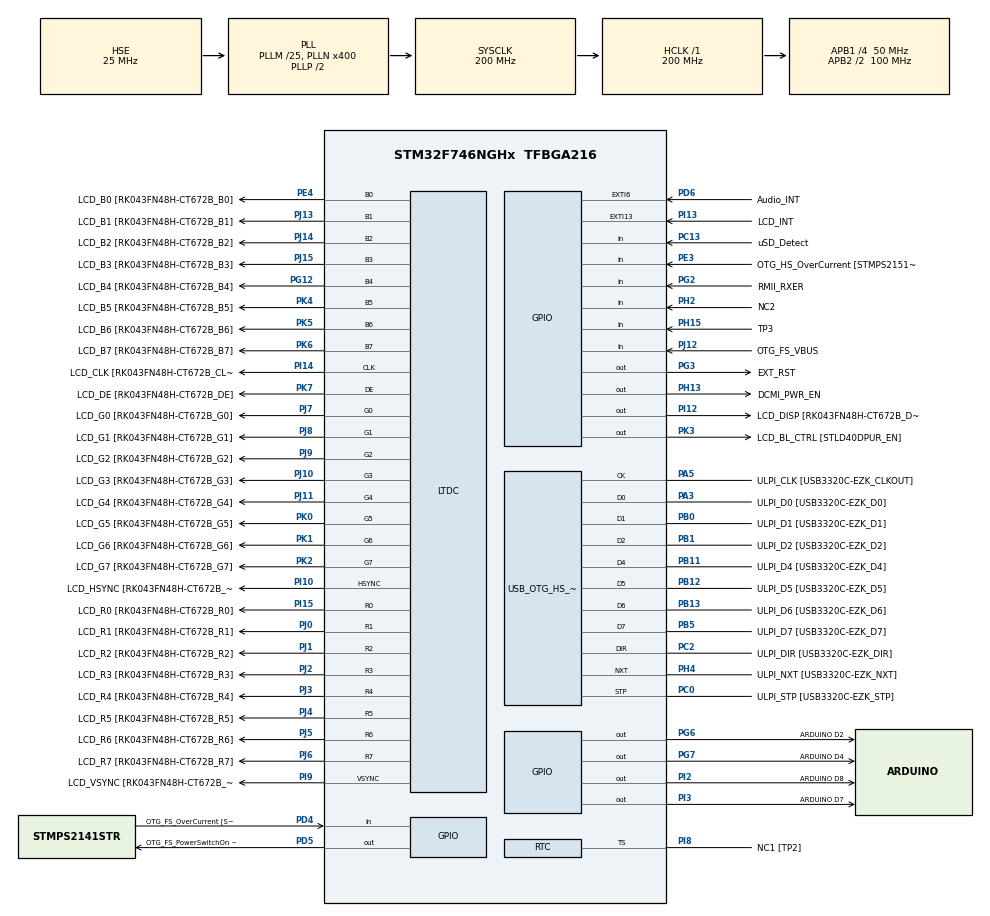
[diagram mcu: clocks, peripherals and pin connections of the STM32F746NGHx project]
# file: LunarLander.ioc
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DMA2D.ColorMode=DMA2D_OUTPUT_RGB565
DMA2D.Mode=DMA2D_R2M
FREERTOS.Tasks01=GameStateLogic,32,128,GameStateLogicWorker,Default,NULL,Dynamic,NULL,NULL;Rendering,16,128,RenderingWorker,Default,NULL,Dynamic,NULL,NULL
LTDC.ActiveH=272
LTDC.ActiveW=480
LTDC.Alpha_L0=255
LTDC.BlendingFactor1_L0=LTDC_BLENDING_FACTOR1_PAxCA
LTDC.BlendingFactor2_L0=LTDC_BLENDING_FACTOR2_PAxCA
LTDC.FBStartAdress_L0=0xC0000000
LTDC.HBP=13
LTDC.HFP=32
LTDC.HSync=41
LTDC.ImageHeight_L0=272
LTDC.ImageWidth_L0=480
LTDC.Layers=0
LTDC.PixelFormat_L0=LTDC_PIXEL_FORMAT_RGB565
LTDC.VSync=10
LTDC.WindowX1_L0=480
LTDC.WindowY1_L0=272
Mcu.Family=STM32F7
Mcu.Name=STM32F746NGHx
Mcu.Package=TFBGA216
NVIC.DMA2D_IRQn=true\:5\:0\:false\:false\:true\:true\:true\:true
NVIC.LTDC_IRQn=true\:5\:0\:false\:false\:true\:true\:true\:true
NVIC.PriorityGroup=NVIC_PRIORITYGROUP_4
NVIC.TIM6_DAC_IRQn=true\:0\:0\:false\:false\:true\:false\:false\:true
NVIC.TimeBase=TIM6_DAC_IRQn
NVIC.TimeBaseIP=TIM6
PA0/WKUP.GPIO_Label=ARDUINO A0
PA0/WKUP.GPIO_Mode=GPIO_MODE_ANALOG
PA0/WKUP.GPIO_PuPd=GPIO_NOPULL
PA0/WKUP.Signal=ADCx_IN0
PA1.GPIO_Label=RMII_REF_CLK [LAN8742A-CZ-TR_REFCLK0]
PA1.Signal=ETH_REF_CLK
PA10.GPIO_Label=OTG_FS_ID
PA10.Signal=USB_OTG_FS_ID
PA11.GPIO_Label=OTG_FS_N
PA11.Signal=USB_OTG_FS_DM
PA12.GPIO_Label=OTG_FS_P
PA12.Signal=USB_OTG_FS_DP
PA13.GPIO_Label=SWDIO
PA13.Mode=Serial_Wire
PA13.Signal=SYS_JTMS-SWDIO
PA14.GPIO_Label=SWCLK
PA14.Mode=Serial_Wire
PA14.Signal=SYS_JTCK-SWCLK
PA15.GPIO_Label=ARDUINO PWM/D9
PA15.GPIO_ModeDefaultPP=GPIO_MODE_AF_PP
PA15.GPIO_PuPd=GPIO_NOPULL
PA15.GPIO_Speed=GPIO_SPEED_FREQ_LOW
PA15.Signal=S_TIM2_CH1_ETR
PA2.GPIO_Label=RMII_MDIO [LAN8742A-CZ-TR_MDIO]
PA2.Signal=ETH_MDIO
PA3.GPIO_Label=ULPI_D0 [USB3320C-EZK_D0]
PA3.Mode=Host_HS
PA3.Signal=USB_OTG_HS_ULPI_D0
PA4.GPIO_Label=DCMI_HSYNC
PA4.Signal=DCMI_HSYNC
PA5.GPIO_Label=ULPI_CLK [USB3320C-EZK_CLKOUT]
PA5.Mode=Host_HS
PA5.Signal=USB_OTG_HS_ULPI_CK
PA6.Signal=DCMI_PIXCLK
PA7.GPIO_Label=RMII_CRS_DV [LAN8742A-CZ-TR_CRS_DV]
PA7.Signal=ETH_CRS_DV
PA8.GPIO_Label=ARDUINO PWM/D10
PA8.GPIO_ModeDefaultPP=GPIO_MODE_AF_PP
PA8.GPIO_PuPd=GPIO_NOPULL
PA8.GPIO_Speed=GPIO_SPEED_FREQ_LOW
PA8.Signal=S_TIM1_CH1
PA9.GPIO_Label=VCP_TX [STM32F103CBT6_PA3]
PA9.GPIO_Mode=GPIO_MODE_AF_PP
PA9.GPIO_PuPd=GPIO_NOPULL
PA9.GPIO_Speed=GPIO_SPEED_FREQ_LOW
PA9.Signal=USART1_TX
PB0.GPIO_Label=ULPI_D1 [USB3320C-EZK_D1]
PB0.Mode=Host_HS
PB0.Signal=USB_OTG_HS_ULPI_D1
PB1.GPIO_Label=ULPI_D2 [USB3320C-EZK_D2]
PB1.Mode=Host_HS
PB1.Signal=USB_OTG_HS_ULPI_D2
PB10.GPIO_Label=ULPI_D3 [USB3320C-EZK_D3]
PB10.Signal=USB_OTG_HS_ULPI_D3
PB11.GPIO_Label=ULPI_D4 [USB3320C-EZK_D4]
PB11.Mode=Host_HS
PB11.Signal=USB_OTG_HS_ULPI_D4
PB12.GPIO_Label=ULPI_D5 [USB3320C-EZK_D5]
PB12.Mode=Host_HS
PB12.Signal=USB_OTG_HS_ULPI_D5
PB13.GPIO_Label=ULPI_D6 [USB3320C-EZK_D6]
PB13.Mode=Host_HS
PB13.Signal=USB_OTG_HS_ULPI_D6
PB14.GPIO_Label=ARDUINO MISO/D12
PB14.GPIO_Mode=GPIO_MODE_AF_PP
PB14.GPIO_PuPd=GPIO_NOPULL
PB14.GPIO_Speed=GPIO_SPEED_FREQ_LOW
PB14.Signal=SPI2_MISO
PB15.GPIO_Label=ARDUINO MOSI/PWM/D11
PB15.GPIO_Mode=GPIO_MODE_AF_PP
PB15.GPIO_PuPd=GPIO_NOPULL
PB15.GPIO_Speed=GPIO_SPEED_FREQ_LOW
PB15.Signal=SPI2_MOSI
PB2.Signal=QUADSPI_CLK
PB3.GPIO_Label=SWO
PB3.Signal=SYS_JTDO-SWO
PB4.GPIO_Label=ARDUINO PWM/D3
PB4.GPIO_ModeDefaultPP=GPIO_MODE_AF_PP
PB4.GPIO_PuPd=GPIO_NOPULL
PB4.GPIO_Speed=GPIO_SPEED_FREQ_LOW
PB4.Signal=S_TIM3_CH1
PB5.GPIO_Label=ULPI_D7 [USB3320C-EZK_D7]
PB5.Mode=Host_HS
PB5.Signal=USB_OTG_HS_ULPI_D7
PB6.GPIO_Label=QSPI_NCS [N25Q128A13EF840E_S]
PB6.Signal=QUADSPI_BK1_NCS
PB7.GPIO_Label=VCP_RX [STM32F103CBT6_PA2]
PB7.GPIO_Mode=GPIO_MODE_AF_PP
PB7.GPIO_PuPd=GPIO_NOPULL
PB7.GPIO_Speed=GPIO_SPEED_FREQ_LOW
PB7.Signal=USART1_RX
PB8.GPIO_Label=ARDUINO SCL/D15
PB8.GPIO_Mode=GPIO_MODE_AF_OD
PB8.GPIO_PuPd=GPIO_NOPULL
PB8.GPIO_Speed=GPIO_SPEED_FREQ_LOW
PB8.Signal=I2C1_SCL
PB9.GPIO_Label=ARDUINO SDA/D14
PB9.GPIO_Mode=GPIO_MODE_AF_OD
PB9.GPIO_PuPd=GPIO_NOPULL
PB9.GPIO_Speed=GPIO_SPEED_FREQ_LOW
PB9.Signal=I2C1_SDA
PC0.GPIO_Label=ULPI_STP [USB3320C-EZK_STP]
PC0.Mode=Host_HS
PC0.Signal=USB_OTG_HS_ULPI_STP
PC1.GPIO_Label=RMII_MDC [LAN8742A-CZ-TR_MDC]
PC1.Signal=ETH_MDC
PC10.GPIO_Label=SDMMC_D2
PC10.Signal=SDMMC1_D2
PC11.GPIO_Label=SDMMC_D3
PC11.Signal=SDMMC1_D3
PC12.GPIO_Label=SDMMC_CK
PC12.Signal=SDMMC1_CK
PC13.GPIO_Label=uSD_Detect
PC13.Signal=GPIO_Input
PC14/OSC32_IN.GPIO_Label=RCC_OSC32_IN
PC14/OSC32_IN.Mode=LSE-External-Oscillator
PC14/OSC32_IN.Signal=RCC_OSC32_IN
PC15/OSC32_OUT.GPIO_Label=RCC_OSC32_OUT
PC15/OSC32_OUT.Mode=LSE-External-Oscillator
PC15/OSC32_OUT.Signal=RCC_OSC32_OUT
PC2.GPIO_Label=ULPI_DIR [USB3320C-EZK_DIR]
PC2.Mode=Host_HS
PC2.Signal=USB_OTG_HS_ULPI_DIR
PC3.GPIO_Label=FMC_SDCKE0 [MT48LC4M32B2B5-6A_CKE]
PC3.Signal=FMC_SDCKE0
PC4.GPIO_Label=RMII_RXD0 [LAN8742A-CZ-TR_RXD0]
PC4.Signal=ETH_RXD0
PC5.GPIO_Label=RMII_RXD1 [LAN8742A-CZ-TR_RXD1]
PC5.Signal=ETH_RXD1
PC6.GPIO_Label=ARDUINO TX/D1
PC6.Signal=USART6_TX
PC7.GPIO_Label=ARDUINO RX/D0
PC7.Signal=USART6_RX
PC8.Signal=SDMMC1_D0
PC9.Signal=SDMMC1_D1
PD0.GPIO_Label=FMC_D2 [MT48LC4M32B2B5-6A_DQ2]
PD0.Signal=FMC_D2_DA2
PD1.GPIO_Label=FMC_D3 [MT48LC4M32B2B5-6A_DQ3]
PD1.Signal=FMC_D3_DA3
PD10.GPIO_Label=FMC_D15 [MT48LC4M32B2B5-6A_DQ15]
PD10.Signal=FMC_D15_DA15
PD11.GPIO_Label=QSPI_D0 [N25Q128A13EF840E_DQ0]
PD11.Signal=QUADSPI_BK1_IO0
PD12.GPIO_Label=QSPI_D1 [N25Q128A13EF840E_DQ1]
PD12.Signal=QUADSPI_BK1_IO1
PD13.GPIO_Label=QSPI_D3 [N25Q128A13EF840E_DQ3]
PD13.Signal=QUADSPI_BK1_IO3
PD14.GPIO_Label=FMC_D0 [MT48LC4M32B2B5-6A_DQ0]
PD14.Signal=FMC_D0_DA0
PD15.GPIO_Label=FMC_D1 [MT48LC4M32B2B5-6A_DQ1]
PD15.Signal=FMC_D1_DA1
PD2.GPIO_Label=SDMMC_CMD
PD2.Signal=SDMMC1_CMD
PD3.GPIO_Label=DCMI_D5
PD3.Signal=DCMI_D5
PD4.GPIO_Label=OTG_FS_OverCurrent [STMPS2141STR_Fault]
PD4.Signal=GPIO_Input
PD5.GPIO_Label=OTG_FS_PowerSwitchOn [STMPS2141STR_EN]
PD5.PinState=GPIO_PIN_SET
PD5.Signal=GPIO_Output
PD6.GPIO_Label=Audio_INT
PD6.GPIO_ModeDefaultEXTI=GPIO_MODE_EVT_RISING
PD6.Signal=GPXTI6
PD7.GPIO_Label=SPDIF_RX0 [74LVC1G04SE_4]
PD7.Signal=SPDIFRX_IN0
PD8.GPIO_Label=FMC_D13 [MT48LC4M32B2B5-6A_DQ13]
PD8.Signal=FMC_D13_DA13
PD9.GPIO_Label=FMC_D14 [MT48LC4M32B2B5-6A_DQ14]
PD9.Signal=FMC_D14_DA14
PE0.GPIO_Label=FMC_NBL0 [MT48LC4M32B2B5-6A_DQM0]
PE0.Signal=FMC_NBL0
PE1.GPIO_Label=FMC_NBL1 [MT48LC4M32B2B5-6A_DQM1]
PE1.Signal=FMC_NBL1
PE10.GPIO_Label=FMC_D7 [MT48LC4M32B2B5-6A_DQ7]
PE10.Signal=FMC_D7_DA7
PE11.GPIO_Label=FMC_D8 [MT48LC4M32B2B5-6A_DQ8]
PE11.Signal=FMC_D8_DA8
PE12.GPIO_Label=FMC_D9 [MT48LC4M32B2B5-6A_DQ9]
PE12.Signal=FMC_D9_DA9
PE13.GPIO_Label=FMC_D10 [MT48LC4M32B2B5-6A_DQ10]
PE13.Signal=FMC_D10_DA10
PE14.GPIO_Label=FMC_D11 [MT48LC4M32B2B5-6A_DQ11]
PE14.Signal=FMC_D11_DA11
PE15.GPIO_Label=FMC_D12 [MT48LC4M32B2B5-6A_DQ12]
PE15.Signal=FMC_D12_DA12
PE2.GPIO_Label=QSPI_D2 [N25Q128A13EF840E_DQ2]
PE2.Signal=QUADSPI_BK1_IO2
PE3.GPIO_Label=OTG_HS_OverCurrent [STMPS2151STR_FAULT]
PE3.Signal=GPIO_Input
PE4.GPIO_Label=LCD_B0 [RK043FN48H-CT672B_B0]
PE4.Mode=RGB888
PE4.Signal=LTDC_B0
PE5.GPIO_Label=DCMI_D6
PE5.Signal=DCMI_D6
PE6.GPIO_Label=DCMI_D7
PE6.Signal=DCMI_D7
PE7.GPIO_Label=FMC_D4 [MT48LC4M32B2B5-6A_DQ4]
PE7.Signal=FMC_D4_DA4
PE8.GPIO_Label=FMC_D5 [MT48LC4M32B2B5-6A_DQ5]
PE8.Signal=FMC_D5_DA5
PE9.GPIO_Label=FMC_D6 [MT48LC4M32B2B5-6A_DQ6]
PE9.Signal=FMC_D6_DA6
PF0.GPIO_Label=FMC_A0 [MT48LC4M32B2B5-6A_A0]
PF0.Signal=FMC_A0
PF1.GPIO_Label=FMC_A1 [MT48LC4M32B2B5-6A_A1]
PF1.Signal=FMC_A1
PF10.GPIO_Label=ARDUINO A1
PF10.GPIO_Mode=GPIO_MODE_ANALOG
PF10.GPIO_PuPd=GPIO_NOPULL
PF10.Signal=ADC3_IN8
PF11.GPIO_Label=FMC_SDNRAS [MT48LC4M32B2B5-6A_RAS]
PF11.Signal=FMC_SDNRAS
PF12.GPIO_Label=FMC_A6 [MT48LC4M32B2B5-6A_A6]
PF12.Signal=FMC_A6
PF13.GPIO_Label=FMC_A7 [MT48LC4M32B2B5-6A_A7]
PF13.Signal=FMC_A7
PF14.GPIO_Label=FMC_A8 [MT48LC4M32B2B5-6A_A8]
PF14.Signal=FMC_A8
PF15.GPIO_Label=FMC_A9 [MT48LC4M32B2B5-6A_A9]
PF15.Signal=FMC_A9
PF2.GPIO_Label=FMC_A2 [MT48LC4M32B2B5-6A_A2]
PF2.Signal=FMC_A2
PF3.GPIO_Label=FMC_A3 [MT48LC4M32B2B5-6A_A3]
PF3.Signal=FMC_A3
PF4.GPIO_Label=FMC_A4 [MT48LC4M32B2B5-6A_A4]
PF4.Signal=FMC_A4
PF5.GPIO_Label=FMC_A5 [MT48LC4M32B2B5-6A_A5]
PF5.Signal=FMC_A5
PF6.GPIO_Label=ARDUINO A5
PF6.GPIO_Mode=GPIO_MODE_ANALOG
PF6.GPIO_PuPd=GPIO_NOPULL
PF6.Signal=ADC3_IN4
PF7.GPIO_Label=ARDUINO A4
PF7.GPIO_Mode=GPIO_MODE_ANALOG
PF7.GPIO_PuPd=GPIO_NOPULL
PF7.Signal=ADC3_IN5
PF8.GPIO_Label=ARDUINO A3
PF8.GPIO_Mode=GPIO_MODE_ANALOG
PF8.GPIO_PuPd=GPIO_NOPULL
PF8.Signal=ADC3_IN6
PF9.GPIO_Label=ARDUINO A2
PF9.GPIO_Mode=GPIO_MODE_ANALOG
PF9.GPIO_PuPd=GPIO_NOPULL
PF9.Signal=ADC3_IN7
PG0.GPIO_Label=FMC_A10 [MT48LC4M32B2B5-6A_A10]
PG0.Signal=FMC_A10
PG1.GPIO_Label=FMC_A11 [MT48LC4M32B2B5-6A_A11]
PG1.Signal=FMC_A11
PG10.GPIO_Label=SAI2_SDB [WM8994ECS/R_ADCDAT1]
PG10.Signal=SAI2_SD_B
PG11.GPIO_Label=RMII_TX_EN [LAN8742A-CZ-TR_TXEN]
PG11.Signal=ETH_TX_EN
PG12.GPIO_Label=LCD_B4 [RK043FN48H-CT672B_B4]
PG12.Mode=RGB888
PG12.Signal=LTDC_B4
PG13.GPIO_Label=RMII_TXD0 [LAN8742A-CZ-TR_TXD0]
PG13.Signal=ETH_TXD0
PG14.GPIO_Label=RMII_TXD1 [LAN8742A-CZ-TR_TXD1]
PG14.Signal=ETH_TXD1
PG15.GPIO_Label=FMC_SDNCAS [MT48LC4M32B2B5-6A_CAS]
PG15.Signal=FMC_SDNCAS
PG2.GPIO_Label=RMII_RXER
PG2.Signal=GPIO_Input
PG3.GPIO_Label=EXT_RST
PG3.Signal=GPIO_Output
PG4.GPIO_Label=FMC_BA0 [MT48LC4M32B2B5-6A_BA0]
PG4.Signal=FMC_A14_BA0
PG5.GPIO_Label=FMC_BA1 [MT48LC4M32B2B5-6A_BA1]
PG5.Signal=FMC_A15_BA1
PG6.GPIO_Label=ARDUINO D2
PG6.Signal=GPIO_Output
PG7.GPIO_Label=ARDUINO D4
PG7.Signal=GPIO_Output
PG8.GPIO_Label=FMC_SDCLK [MT48LC4M32B2B5-6A_CLK]
PG8.Signal=FMC_SDCLK
PG9.GPIO_Label=DCMI_VSYNC
PG9.Signal=DCMI_VSYNC
PH0/OSC_IN.GPIO_Label=OSC_25M [NZ2520SB-25.00M_OUT]
PH0/OSC_IN.Mode=HSE-External-Oscillator
PH0/OSC_IN.Signal=RCC_OSC_IN
PH1/OSC_OUT.Mode=HSE-External-Oscillator
PH1/OSC_OUT.Signal=RCC_OSC_OUT
PH10.GPIO_Label=DCMI_D1
PH10.Signal=DCMI_D1
PH11.GPIO_Label=DCMI_D2
PH11.Signal=DCMI_D2
PH12.GPIO_Label=DCMI_D3
PH12.Signal=DCMI_D3
PH13.GPIO_Label=DCMI_PWR_EN
PH13.Signal=GPIO_Output
PH14.GPIO_Label=DCMI_D4
PH14.Signal=DCMI_D4
PH15.GPIO_Label=TP3
PH15.Signal=GPIO_Input
PH2.GPIO_Label=NC2
PH2.Signal=GPIO_Input
PH3.GPIO_Label=FMC_SDNE0 [MT48LC4M32B2B5-6A_CS]
PH3.Signal=FMC_SDNE0
PH4.GPIO_Label=ULPI_NXT [USB3320C-EZK_NXT]
PH4.Mode=Host_HS
PH4.Signal=USB_OTG_HS_ULPI_NXT
PH5.GPIO_Label=FMC_SDNME [MT48LC4M32B2B5-6A_WE]
PH5.Signal=FMC_SDNWE
PH6.GPIO_Label=ARDUINO PWM/D6
PH6.Signal=S_TIM12_CH1
PH7.GPIO_Label=LCD_SCL [RK043FN48H-CT672B_SCL]
PH7.Signal=I2C3_SCL
PH8.GPIO_Label=LCD_SDA [RK043FN48H-CT672B_SDA]
PH8.Signal=I2C3_SDA
PH9.GPIO_Label=DCMI_D0
PH9.Signal=DCMI_D0
PI0.GPIO_Label=ARDUINO PWM/CS/D5
PI0.GPIO_ModeDefaultPP=GPIO_MODE_AF_PP
PI0.GPIO_PuPd=GPIO_NOPULL
PI0.GPIO_Speed=GPIO_SPEED_FREQ_LOW
PI0.Signal=S_TIM5_CH4
PI1.GPIO_Label=ARDUINO SCK/D13
PI1.GPIO_Mode=GPIO_MODE_AF_PP
PI1.GPIO_PuPd=GPIO_NOPULL
PI1.GPIO_Speed=GPIO_SPEED_FREQ_LOW
PI1.Signal=SPI2_SCK
PI10.GPIO_Label=LCD_HSYNC [RK043FN48H-CT672B_HSYNC]
PI10.Mode=RGB888
PI10.Signal=LTDC_HSYNC
PI12.GPIO_Label=LCD_DISP [RK043FN48H-CT672B_DISP] 
PI12.PinState=GPIO_PIN_SET
PI12.Signal=GPIO_Output
PI13.GPIO_Label=LCD_INT
PI13.GPIO_ModeDefaultEXTI=GPIO_MODE_EVT_RISING
PI13.Signal=GPXTI13
PI14.GPIO_Label=LCD_CLK [RK043FN48H-CT672B_CLK]
PI14.Mode=RGB888
PI14.Signal=LTDC_CLK
PI15.GPIO_Label=LCD_R0 [RK043FN48H-CT672B_R0]
PI15.Mode=RGB888
PI15.Signal=LTDC_R0
PI2.GPIO_Label=ARDUINO D8
PI2.Signal=GPIO_Output
PI3.GPIO_Label=ARDUINO D7
PI3.Signal=GPIO_Output
PI4.GPIO_Label=SAI2_MCLKA [WM8994ECS/R_MCLK1]
PI4.Signal=SAI2_MCLK_A
PI5.GPIO_Label=SAI2_SCKA [WM8994ECS/R_BCLK1]
PI5.Signal=SAI2_SCK_A
PI6.GPIO_Label=SAI2_SDA [WM8994ECS/R_DACDAT1]
PI6.Signal=SAI2_SD_A
PI7.GPIO_Label=SAI2_FSA [WM8994ECS/R_LRCLK1]
PI7.Signal=SAI2_FS_A
PI8.GPIO_Label=NC1 [TP2]
PI8.Mode=Timestamp enabled - Input Enabled to TS
PI8.Signal=RTC_TS
PI9.GPIO_Label=LCD_VSYNC [RK043FN48H-CT672B_VSYNC]
PI9.Mode=RGB888
PI9.Signal=LTDC_VSYNC
PJ0.GPIO_Label=LCD_R1 [RK043FN48H-CT672B_R1]
PJ0.Mode=RGB888
PJ0.Signal=LTDC_R1
PJ1.GPIO_Label=LCD_R2 [RK043FN48H-CT672B_R2]
PJ1.Mode=RGB888
PJ1.Signal=LTDC_R2
PJ10.GPIO_Label=LCD_G3 [RK043FN48H-CT672B_G3]
PJ10.Mode=RGB888
PJ10.Signal=LTDC_G3
PJ11.GPIO_Label=LCD_G4 [RK043FN48H-CT672B_G4]
PJ11.Mode=RGB888
PJ11.Signal=LTDC_G4
PJ12.GPIO_Label=OTG_FS_VBUS
PJ12.Signal=GPIO_Input
PJ13.GPIO_Label=LCD_B1 [RK043FN48H-CT672B_B1]
PJ13.Mode=RGB888
PJ13.Signal=LTDC_B1
PJ14.GPIO_Label=LCD_B2 [RK043FN48H-CT672B_B2]
PJ14.Mode=RGB888
PJ14.Signal=LTDC_B2
PJ15.GPIO_Label=LCD_B3 [RK043FN48H-CT672B_B3]
PJ15.Mode=RGB888
PJ15.Signal=LTDC_B3
PJ2.GPIO_Label=LCD_R3 [RK043FN48H-CT672B_R3]
PJ2.Mode=RGB888
PJ2.Signal=LTDC_R3
PJ3.GPIO_Label=LCD_R4 [RK043FN48H-CT672B_R4]
PJ3.Mode=RGB888
PJ3.Signal=LTDC_R4
PJ4.GPIO_Label=LCD_R5 [RK043FN48H-CT672B_R5]
PJ4.Mode=RGB888
PJ4.Signal=LTDC_R5
PJ5.GPIO_Label=LCD_R6 [RK043FN48H-CT672B_R6]
PJ5.Mode=RGB888
PJ5.Signal=LTDC_R6
PJ6.GPIO_Label=LCD_R7 [RK043FN48H-CT672B_R7]
PJ6.Mode=RGB888
PJ6.Signal=LTDC_R7
PJ7.GPIO_Label=LCD_G0 [RK043FN48H-CT672B_G0]
PJ7.Mode=RGB888
PJ7.Signal=LTDC_G0
PJ8.GPIO_Label=LCD_G1 [RK043FN48H-CT672B_G1]
PJ8.Mode=RGB888
PJ8.Signal=LTDC_G1
PJ9.GPIO_Label=LCD_G2 [RK043FN48H-CT672B_G2]
PJ9.Mode=RGB888
PJ9.Signal=LTDC_G2
PK0.GPIO_Label=LCD_G5 [RK043FN48H-CT672B_G5]
PK0.Mode=RGB888
PK0.Signal=LTDC_G5
PK1.GPIO_Label=LCD_G6 [RK043FN48H-CT672B_G6]
PK1.Mode=RGB888
PK1.Signal=LTDC_G6
PK2.GPIO_Label=LCD_G7 [RK043FN48H-CT672B_G7]
PK2.Mode=RGB888
PK2.Signal=LTDC_G7
PK3.GPIO_Label=LCD_BL_CTRL [STLD40DPUR_EN]
PK3.GPIO_Speed=GPIO_SPEED_FREQ_LOW
PK3.PinState=GPIO_PIN_SET
PK3.Signal=GPIO_Output
PK4.GPIO_Label=LCD_B5 [RK043FN48H-CT672B_B5]
PK4.Mode=RGB888
PK4.Signal=LTDC_B5
PK5.GPIO_Label=LCD_B6 [RK043FN48H-CT672B_B6]
PK5.Mode=RGB888
PK5.Signal=LTDC_B6
PK6.GPIO_Label=LCD_B7 [RK043FN48H-CT672B_B7]
PK6.Mode=RGB888
PK6.Signal=LTDC_B7
PK7.GPIO_Label=LCD_DE [RK043FN48H-CT672B_DE]
PK7.Mode=RGB888
PK7.Signal=LTDC_DE
ProjectManager.HeapSize=0x200
ProjectManager.StackSize=0x400
ProjectManager.TargetToolchain=SW4STM32
RCC.AHBFreq_Value=200000000
RCC.APB1CLKDivider=RCC_HCLK_DIV4
RCC.APB1Freq_Value=50000000
RCC.APB1TimFreq_Value=100000000
RCC.APB2CLKDivider=RCC_HCLK_DIV2
RCC.APB2Freq_Value=100000000
RCC.APB2TimFreq_Value=200000000
RCC.CortexFreq_Value=200000000
RCC.HCLKFreq_Value=200000000
RCC.HSE_VALUE=25000000
RCC.HSI_VALUE=16000000
RCC.PLL48CLockSelection=RCC_CLK48SOURCE_PLLSAIP
RCC.PLLI2SN=100
RCC.PLLM=25
RCC.PLLN=400
RCC.PLLQ=9
RCC.PLLSAIN=384
RCC.PLLSAIP=RCC_PLLSAIP_DIV8
RCC.PLLSAIR=5
RCC.PLLSAIRDiv=RCC_PLLSAIDIVR_8
RCC.PLLSourceVirtual=RCC_PLLSOURCE_HSE
RCC.SDMMCClockSelection=RCC_SDMMC1CLKSOURCE_CLK48
RCC.SYSCLKFreq_VALUE=200000000
RCC.SYSCLKSource=RCC_SYSCLKSOURCE_PLLCLK
RCC.USBFreq_Value=48000000
RCC.VCOOutputFreq_Value=400000000
RTC.Alarm-Alarm\ A=RTC_ALARM_A
RTC.Alarm_B-Alarm\ B=RTC_ALARM_B
SH.ADCx_IN0.0=ADC3_IN0
SH.FMC_A0.0=FMC_A0
SH.FMC_A1.0=FMC_A1
SH.FMC_A10.0=FMC_A10
SH.FMC_A11.0=FMC_A11
SH.FMC_A14_BA0.0=FMC_BA0
SH.FMC_A15_BA1.0=FMC_BA1
SH.FMC_A2.0=FMC_A2
SH.FMC_A3.0=FMC_A3
SH.FMC_A4.0=FMC_A4
SH.FMC_A5.0=FMC_A5
SH.FMC_A6.0=FMC_A6
SH.FMC_A7.0=FMC_A7
SH.FMC_A8.0=FMC_A8
SH.FMC_A9.0=FMC_A9
SH.FMC_D0_DA0.0=FMC_D0
SH.FMC_D10_DA10.0=FMC_D10
SH.FMC_D11_DA11.0=FMC_D11
SH.FMC_D12_DA12.0=FMC_D12
SH.FMC_D13_DA13.0=FMC_D13
SH.FMC_D14_DA14.0=FMC_D14
SH.FMC_D15_DA15.0=FMC_D15
SH.FMC_D1_DA1.0=FMC_D1
SH.FMC_D2_DA2.0=FMC_D2
SH.FMC_D3_DA3.0=FMC_D3
SH.FMC_D4_DA4.0=FMC_D4
SH.FMC_D5_DA5.0=FMC_D5
SH.FMC_D6_DA6.0=FMC_D6
SH.FMC_D7_DA7.0=FMC_D7
SH.FMC_D8_DA8.0=FMC_D8
SH.FMC_D9_DA9.0=FMC_D9
SH.FMC_NBL0.0=FMC_NBL0
SH.FMC_NBL1.0=FMC_NBL1
SH.FMC_SDCLK.0=FMC_SDCLK
SH.FMC_SDNCAS.0=FMC_SDNCAS
SH.FMC_SDNRAS.0=FMC_SDNRAS
SH.FMC_SDNWE.0=FMC_SDNWE
SH.S_TIM12_CH1.0=TIM12_CH1
SH.S_TIM1_CH1.0=TIM1_CH1
SH.S_TIM2_CH1_ETR.0=TIM2_CH1
SH.S_TIM3_CH1.0=TIM3_CH1
SH.S_TIM5_CH4.0=TIM5_CH4
VP_DMA2D_VS_DMA2D.Mode=DMA2D_Activate
VP_FREERTOS_VS_CMSIS_V2.Mode=CMSIS_V2
VP_RTC_VS_RTC_Activate.Mode=RTC_Enabled
VP_RTC_VS_RTC_Alarm_A_Intern.Mode=Alarm A
VP_RTC_VS_RTC_Alarm_B_Intern.Mode=Alarm B
VP_RTC_VS_RTC_Calendar.Mode=RTC_Calendar
VP_SYS_VS_tim6.Mode=TIM6
VP_TIM5_VS_ClockSourceINT.Mode=Internal
board=STM32F746G-DISCO

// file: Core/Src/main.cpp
/* USER CODE BEGIN Header */
/**
  ******************************************************************************
  * @file           : main.c
  * @brief          : Main program body
  ******************************************************************************
  * @attention
  *
  * <h2><center>&copy; Copyright (c) 2020 STMicroelectronics.
  * All rights reserved.</center></h2>
  *
  * This software component is licensed by ST under BSD 3-Clause license,
  * the "License"; You may not use this file except in compliance with the
  * License. You may obtain a copy of the License at:
  *                        opensource.org/licenses/BSD-3-Clause
  *
  ******************************************************************************
  */
/* USER CODE END Header */

#include "main.h"
#include "cmsis_os.h"
#include "dma2d.h"
#include "ltdc.h"
#include "rtc.h"
#include "tim.h"
#include "gpio.h"

/* USER CODE BEGIN Includes */
#include <User/GameState.hpp>
#include <User/Renderer.hpp>
/* USER CODE END Includes */

void SystemClock_Config(void);

void MX_FREERTOS_Init(void);

int main(void)
{
	/* USER CODE BEGIN 1 */
#pragma clang diagnostic push
#pragma clang diagnostic ignored "-Wmissing-noreturn"
	/* USER CODE END 1 */

	/* MCU Configuration--------------------------------------------------------*/

	/* Reset of all peripherals, Initializes the Flash interface and the Systick. */
	HAL_Init();

	/* Configure the system clock */
	SystemClock_Config();

	/* Initialize all configured peripherals */
	MX_GPIO_Init();
	MX_DMA2D_Init();
	MX_LTDC_Init();
	MX_RTC_Init();
	MX_TIM5_Init();

	/* Call init function for freertos objects (in freertos.c) */
	MX_FREERTOS_Init();

	/* Start scheduler */
	osKernelStart();

	/* We should never get here as control is now taken by the scheduler */

	/* Infinite loop */
	/* USER CODE BEGIN WHILE */

	using namespace LunarLander;

	GameState gameState{};
	while (true)
	{
		auto startTick = HAL_GetTick();

		while ((LTDC->CDSR & LTDC_CDSR_VSYNCS) == 0);

		gameState.OnTick();
		Renderer::Render(gameState);

		auto volatile ticksSpentOnRendering = (HAL_GetTick() - startTick);
		if (ticksSpentOnRendering < 16)
			HAL_Delay(16 - ticksSpentOnRendering);
		/* USER CODE END WHILE */

		/* USER CODE BEGIN 3 */
#pragma clang diagnostic pop
	}
	/* USER CODE END 3 */
}

void SystemClock_Config(void)
{
	RCC_OscInitTypeDef       RCC_OscInitStruct   = {0};
	RCC_ClkInitTypeDef       RCC_ClkInitStruct   = {0};
	RCC_PeriphCLKInitTypeDef PeriphClkInitStruct = {0};

	/** Configure LSE Drive Capability
	*/
	HAL_PWR_EnableBkUpAccess();
	/** Configure the main internal regulator output voltage
	*/
	__HAL_RCC_PWR_CLK_ENABLE();
	__HAL_PWR_VOLTAGESCALING_CONFIG(PWR_REGULATOR_VOLTAGE_SCALE1);
	/** Initializes the CPU, AHB and APB busses clocks
	*/
	RCC_OscInitStruct.OscillatorType = RCC_OSCILLATORTYPE_LSI | RCC_OSCILLATORTYPE_HSE;
	RCC_OscInitStruct.HSEState       = RCC_HSE_ON;
	RCC_OscInitStruct.LSIState       = RCC_LSI_ON;
	RCC_OscInitStruct.PLL.PLLState   = RCC_PLL_ON;
	RCC_OscInitStruct.PLL.PLLSource  = RCC_PLLSOURCE_HSE;
	RCC_OscInitStruct.PLL.PLLM       = 25;
	RCC_OscInitStruct.PLL.PLLN       = 400;
	RCC_OscInitStruct.PLL.PLLP       = RCC_PLLP_DIV2;
	RCC_OscInitStruct.PLL.PLLQ       = 9;
	if (HAL_RCC_OscConfig(&RCC_OscInitStruct) != HAL_OK)
	{
		Error_Handler();
	}
	/** Activate the Over-Drive mode
	*/
	if (HAL_PWREx_EnableOverDrive() != HAL_OK)
	{
		Error_Handler();
	}
	/** Initializes the CPU, AHB and APB busses clocks
	*/
	RCC_ClkInitStruct.ClockType      = RCC_CLOCKTYPE_HCLK | RCC_CLOCKTYPE_SYSCLK
	                                   | RCC_CLOCKTYPE_PCLK1 | RCC_CLOCKTYPE_PCLK2;
	RCC_ClkInitStruct.SYSCLKSource   = RCC_SYSCLKSOURCE_PLLCLK;
	RCC_ClkInitStruct.AHBCLKDivider  = RCC_SYSCLK_DIV1;
	RCC_ClkInitStruct.APB1CLKDivider = RCC_HCLK_DIV4;
	RCC_ClkInitStruct.APB2CLKDivider = RCC_HCLK_DIV2;

	if (HAL_RCC_ClockConfig(&RCC_ClkInitStruct, FLASH_LATENCY_6) != HAL_OK)
	{
		Error_Handler();
	}
	PeriphClkInitStruct.PeriphClockSelection = RCC_PERIPHCLK_LTDC | RCC_PERIPHCLK_RTC;
	PeriphClkInitStruct.PLLSAI.PLLSAIN       = 384;
	PeriphClkInitStruct.PLLSAI.PLLSAIR       = 5;
	PeriphClkInitStruct.PLLSAI.PLLSAIQ       = 2;
	PeriphClkInitStruct.PLLSAI.PLLSAIP       = RCC_PLLSAIP_DIV8;
	PeriphClkInitStruct.PLLSAIDivQ           = 1;
	PeriphClkInitStruct.PLLSAIDivR           = RCC_PLLSAIDIVR_8;
	PeriphClkInitStruct.RTCClockSelection    = RCC_RTCCLKSOURCE_LSI;
	if (HAL_RCCEx_PeriphCLKConfig(&PeriphClkInitStruct) != HAL_OK)
	{
		Error_Handler();
	}
}

void HAL_TIM_PeriodElapsedCallback(TIM_HandleTypeDef* htim)
{
	if (htim->Instance == TIM6)
	{
		HAL_IncTick();
	}
}

void Error_Handler(void)
{
}

/************************ (C) COPYRIGHT STMicroelectronics *****END OF FILE****/
